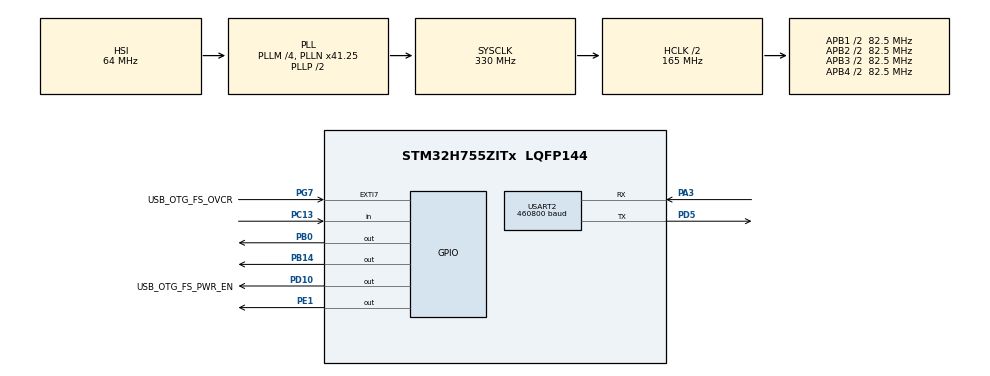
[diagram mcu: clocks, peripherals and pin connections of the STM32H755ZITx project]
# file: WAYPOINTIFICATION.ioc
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CortexM4.IPs=FATFS_M4\:I,FREERTOS_M4\:I,IWDG2\:I,RCC,WWDG2\:I,DMA,BDMA,MDMA,NVIC2\:I,ETH,USART3,DEBUG,PDM2PCM_M4\:I,PWR,RESMGR_UTILITY,SYS_M4\:I,USB_DEVICE_M4\:I,USB_HOST_M4\:I,CORTEX_M4\:I,GPIO,OPENAMP_M4\:I,VREFBUF,NUCLEO-H755ZI-Q
CortexM7.IPs=FATFS_M7\:I,FREERTOS_M7\:I,IWDG1\:I,RCC\:I,WWDG1\:I,DMA\:I,BDMA\:I,MDMA\:I,NVIC1\:I,ETH\:I,USART3\:I,USB_OTG_FS\:I,SYS\:I,CORTEX_M7\:I,DEBUG\:I,PDM2PCM_M7\:I,PWR\:I,RESMGR_UTILITY\:I,USB_DEVICE_M7\:I,USB_HOST_M7\:I,GPIO\:I,OPENAMP_M7\:I,VREFBUF\:I,NUCLEO-H755ZI-Q\:I,MEMORYMAP\:I,USART2\:I
Dma.Request0=USART2_RX
Dma.USART2_RX.0.Direction=DMA_PERIPH_TO_MEMORY
Dma.USART2_RX.0.EventEnable=DISABLE
Dma.USART2_RX.0.FIFOMode=DMA_FIFOMODE_DISABLE
Dma.USART2_RX.0.Instance=DMA1_Stream0
Dma.USART2_RX.0.MemDataAlignment=DMA_MDATAALIGN_BYTE
Dma.USART2_RX.0.MemInc=DMA_MINC_ENABLE
Dma.USART2_RX.0.Mode=DMA_CIRCULAR
Dma.USART2_RX.0.PeriphDataAlignment=DMA_PDATAALIGN_BYTE
Dma.USART2_RX.0.PeriphInc=DMA_PINC_DISABLE
Dma.USART2_RX.0.Polarity=HAL_DMAMUX_REQ_GEN_RISING
Dma.USART2_RX.0.Priority=DMA_PRIORITY_LOW
Dma.USART2_RX.0.RequestNumber=1
Dma.USART2_RX.0.SignalID=NONE
Dma.USART2_RX.0.SyncEnable=DISABLE
Dma.USART2_RX.0.SyncPolarity=HAL_DMAMUX_SYNC_NO_EVENT
Dma.USART2_RX.0.SyncRequestNumber=1
Dma.USART2_RX.0.SyncSignalID=NONE
FREERTOS_M4.Tasks01=defaultTask,24,128,StartDefaultTask,Default,NULL,Dynamic,NULL,NULL
FREERTOS_M7.Tasks01=defaultTask,24,128,StartDefaultTask,Default,NULL,Dynamic,NULL,NULL
Mcu.Family=STM32H7
Mcu.Name=STM32H755ZITx
Mcu.Package=LQFP144
NUCLEO-H755ZI-Q.BUTTON=1
NUCLEO-H755ZI-Q.LD1=true
NUCLEO-H755ZI-Q.LD2=true
NUCLEO-H755ZI-Q.LD3=true
NUCLEO-H755ZI-Q.VCP=true
NVIC1.DMA1_Stream0_IRQn=true\:5\:0\:false\:false\:true\:true\:false\:true\:true
NVIC1.EXTI15_10_IRQn=true\:5\:0\:false\:false\:true\:true\:false\:true\:true
NVIC1.PriorityGroup=NVIC_PRIORITYGROUP_4
NVIC1.USART2_IRQn=true\:5\:0\:false\:false\:true\:true\:true\:true\:true
NVIC2.PriorityGroup=NVIC_PRIORITYGROUP_4
PA1.PinAttribute=CortexM7
PA1.Signal=ETH_REF_CLK
PA11.PinAttribute=CortexM7
PA11.Signal=USB_OTG_FS_DM
PA12.PinAttribute=CortexM7
PA12.Signal=USB_OTG_FS_DP
PA2.PinAttribute=CortexM7
PA2.Signal=ETH_MDIO
PA3.Mode=Asynchronous
PA3.PinAttribute=CortexM7
PA3.Signal=USART2_RX
PA7.PinAttribute=CortexM7
PA7.Signal=ETH_CRS_DV
PA8.PinAttribute=CortexM7
PA8.Signal=USB_OTG_FS_SOF
PA9.PinAttribute=CortexM7
PA9.Signal=USB_OTG_FS_VBUS
PB0.Signal=GPIO_Output
PB13.PinAttribute=CortexM7
PB13.Signal=ETH_TXD1
PB14.Signal=GPIO_Output
PC1.PinAttribute=CortexM7
PC1.Signal=ETH_MDC
PC13.Signal=GPIO_Input
PC14-OSC32_IN\ (OSC32_IN).PinAttribute=Free
PC14-OSC32_IN\ (OSC32_IN).Signal=RCC_OSC32_IN
PC15-OSC32_OUT\ (OSC32_OUT).PinAttribute=Free
PC15-OSC32_OUT\ (OSC32_OUT).Signal=RCC_OSC32_OUT
PC4.PinAttribute=CortexM7
PC4.Signal=ETH_RXD0
PC5.PinAttribute=CortexM7
PC5.Signal=ETH_RXD1
PD10.GPIO_Label=USB_OTG_FS_PWR_EN
PD10.PinAttribute=Free
PD10.Signal=GPIO_Output
PD5.Mode=Asynchronous
PD5.PinAttribute=CortexM7
PD5.Signal=USART2_TX
PD8.Signal=USART3_TX
PD9.Signal=USART3_RX
PE1.Signal=GPIO_Output
PG11.PinAttribute=CortexM7
PG11.Signal=ETH_TX_EN
PG13.PinAttribute=CortexM7
PG13.Signal=ETH_TXD0
PG7.GPIO_Label=USB_OTG_FS_OVCR
PG7.PinAttribute=Free
PG7.Signal=GPXTI7
PH0-OSC_IN\ (PH0).PinAttribute=Free
PH0-OSC_IN\ (PH0).Signal=RCC_OSC_IN
PH1-OSC_OUT\ (PH1).PinAttribute=Free
PH1-OSC_OUT\ (PH1).Signal=RCC_OSC_OUT
ProjectManager.HeapSize=M4-0x200,M7-0x200
ProjectManager.StackSize=M4-0x400,M7-0x400
ProjectManager.TargetToolchain=STM32CubeIDE
RCC.ADCFreq_Value=129000000
RCC.APB1Freq_Value=82500000
RCC.APB2Freq_Value=82500000
RCC.APB3Freq_Value=82500000
RCC.APB4Freq_Value=82500000
RCC.CortexFreq_Value=330000000
RCC.D1PPRE=RCC_APB3_DIV2
RCC.D2PPRE1=RCC_APB1_DIV2
RCC.D2PPRE2=RCC_APB2_DIV2
RCC.D3PPRE=RCC_APB4_DIV2
RCC.DIVM1=4
RCC.DIVN1=41
RCC.DIVQ1=5
RCC.HCLKFreq_Value=165000000
RCC.HPRE=RCC_HCLK_DIV2
RCC.PLL2FRACN=0
RCC.PLL3FRACN=0
RCC.PLLFRACN=2048
RCC.SYSCLKFreq_VALUE=330000000
RCC.SYSCLKSource=RCC_SYSCLKSOURCE_PLLCLK
RCC.SupplySource=PWR_DIRECT_SMPS_SUPPLY
RCC.USBFreq_Value=132000000
USART2.BaudRate=460800
USART2.VirtualMode-Asynchronous=VM_ASYNC
VP_FREERTOS_M4_VS_CMSIS_V2.Mode=CMSIS_V2
VP_FREERTOS_M7_VS_CMSIS_V2.Mode=CMSIS_V2
VP_MEMORYMAP_VS_MEMORYMAP.Mode=CurAppReg
VP_NUCLEO-H755ZI-Q_VS_BSP_COMMON.Mode=COMMON
VP_SYS_M4_VS_Systick.Mode=SysTick
board=NUCLEO-H755ZI-Q

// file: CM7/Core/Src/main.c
/* USER CODE BEGIN Header */
/**
  ******************************************************************************
  * @file           : main.c
  * @brief          : Main program body
  ******************************************************************************
  * @attention
  *
  * Copyright (c) 2025 STMicroelectronics.
  * All rights reserved.
  *
  * This software is licensed under terms that can be found in the LICENSE file
  * in the root directory of this software component.
  * If no LICENSE file comes with this software, it is provided AS-IS.
  *
  ******************************************************************************
  */
/* USER CODE END Header */
#include "main.h"
#include "cmsis_os.h"

/* USER CODE BEGIN Includes */
#include <stdlib.h>
#include "stdio.h"
#include "string.h"
#include "FreeRTOS.h"
#include "task.h"
#include <stdbool.h>
#include "shared_mem.h"
#include <math.h>
/* USER CODE END Includes */

/* USER CODE BEGIN PTD */
typedef struct {
    double angle_deg;   // 0–360°
    double dist_m;      // meters
    double x;           // meters
    double y;           // meters
} LidarPoint;
#define POINTS_PER_REV    360
#define BYTES_PER_POINT   5      // RPLIDAR default measurement packet size
#define SCAN_BUF_SIZE     (POINTS_PER_REV * BYTES_PER_POINT)
__attribute__((section(".dtcmram"))) static uint8_t  scan_buf[SCAN_BUF_SIZE];
LidarPoint  points[POINTS_PER_REV];
/* USER CODE END PTD */

/* USER CODE BEGIN PD */
/* DUAL_CORE_BOOT_SYNC_SEQUENCE: Define for dual core boot synchronization    */
/*                             demonstration code based on hardware semaphore */
/* This define is present in both CM7/CM4 projects                            */
/* To comment when developping/debugging on a single core                     */
#define DUAL_CORE_BOOT_SYNC_SEQUENCE

#if defined(DUAL_CORE_BOOT_SYNC_SEQUENCE)
#ifndef HSEM_ID_0
#define HSEM_ID_0 (0U) /* HW semaphore 0*/
#endif
#endif /* DUAL_CORE_BOOT_SYNC_SEQUENCE */

static volatile bool capturing = false;        // true between start/stop
#define PRINT_PERIOD_MS    100                  // print interval

/* USER CODE END PD */

COM_InitTypeDef BspCOMInit;

UART_HandleTypeDef huart2;
DMA_HandleTypeDef hdma_usart2_rx;

/* Definitions for defaultTask */
osThreadId_t defaultTaskHandle;
const osThreadAttr_t defaultTask_attributes = {
  .name = "defaultTask",
  .stack_size = 1028 * 4,
  .priority = (osPriority_t) osPriorityNormal,
};

void SystemClock_Config(void);
static void MX_GPIO_Init(void);
static void MX_DMA_Init(void);
static void MX_USART2_UART_Init(void);
void StartDefaultTask(void *argument);

/* USER CODE BEGIN 0 */
#define BYTES_PER_POINT 5
#define Q_MIN           0     // toss anything below this quality
#define MAX_DIST_MM     8000  // sensor max reliable range

// Additional state
#define MAX_POINTS_PER_SCAN 400 // generous; typical is 360 but allow for overrun
LidarPoint cur_scan[MAX_POINTS_PER_SCAN];
uint16_t cur_scan_idx = 0;
volatile bool scan_ready = false;

#define MAX_POINTS_PER_SCAN 400
LidarPoint scan_buffer[MAX_POINTS_PER_SCAN];
uint16_t scan_buffer_idx = 0;
LidarPoint last_scan[MAX_POINTS_PER_SCAN];      // stores most recent complete scan
uint16_t last_scan_count = 0;
// Comparator for qsort
int cmp_angle(const void *a, const void *b) {
    const LidarPoint *pa = a, *pb = b;
    if (pa->angle_deg < pb->angle_deg) return -1;
    if (pa->angle_deg > pb->angle_deg) return 1;
    return 0;
}
void parse_chunk(uint8_t *buf, size_t len)
{
    size_t i = 0;
    while (i + BYTES_PER_POINT <= len)
    {
        uint8_t byte0 = buf[i];
        uint8_t quality = byte0 >> 2;
        uint16_t raw_ang  = ((uint16_t)buf[i+2] << 8) | buf[i+1];
        uint16_t raw_dist = ((uint16_t)buf[i+4] << 8) | buf[i+3];

        // Extra validity checks to avoid false positives
        double angle = (raw_ang >> 1) / 64.0;
        double dist  = raw_dist / 1000.0;

        // Valid packet: quality reasonable, angle in [0,360], dist in sensor range
        bool valid = (quality <= 63) && (angle >= 0 && angle <= 360) && (dist >= 0 && dist <= 16);
        if (!valid) {
            i += 1; // Slide window by 1 until you hit a valid candidate
            continue;
        }

        bool sync = byte0 & 0x1;
        if (quality < Q_MIN || raw_dist == 0 || raw_dist > MAX_DIST_MM) {
            i += BYTES_PER_POINT;
            continue;
        }

        if (sync && scan_buffer_idx > 0 && (angle < 10.0 || angle > 350.0)) {
            memcpy(last_scan, scan_buffer, scan_buffer_idx * sizeof(LidarPoint));
            last_scan_count = scan_buffer_idx;
            scan_ready = true;
            scan_buffer_idx = 0;
        }

        if (scan_buffer_idx < MAX_POINTS_PER_SCAN) {
            scan_buffer[scan_buffer_idx].angle_deg = angle;
            scan_buffer[scan_buffer_idx].dist_m = dist;
            scan_buffer[scan_buffer_idx].x = dist * cos(angle * M_PI/180.0);
            scan_buffer[scan_buffer_idx].y = dist * sin(angle * M_PI/180.0);
            scan_buffer_idx++;
        }
        i += BYTES_PER_POINT; // Only advance by 5 if you accepted this as a packet
    }
}

/** Print all 360 decoded points over UART */
void print_last_scan(void)
{
    // Sort by angle
    qsort(last_scan, last_scan_count, sizeof(LidarPoint), cmp_angle);

    for (int i = 0; i < last_scan_count; ++i) {
        printf("%d %.2f %.2f\n",
               i,
               last_scan[i].x,
               last_scan[i].y);
    }
}

/* USER CODE END 0 */

int main(void)
{

/* USER CODE BEGIN Boot_Mode_Sequence_0 */
#if defined(DUAL_CORE_BOOT_SYNC_SEQUENCE)
  int32_t timeout;
#endif /* DUAL_CORE_BOOT_SYNC_SEQUENCE */
/* USER CODE END Boot_Mode_Sequence_0 */

/* USER CODE BEGIN Boot_Mode_Sequence_1 */
#if defined(DUAL_CORE_BOOT_SYNC_SEQUENCE)
  /* Wait until CPU2 boots and enters in stop mode or timeout*/
  timeout = 0xFFFF;
  while((__HAL_RCC_GET_FLAG(RCC_FLAG_D2CKRDY) != RESET) && (timeout-- > 0));
  if ( timeout < 0 )
  {
  Error_Handler();
  }
#endif /* DUAL_CORE_BOOT_SYNC_SEQUENCE */
/* USER CODE END Boot_Mode_Sequence_1 */
  /* MCU Configuration--------------------------------------------------------*/

  /* Reset of all peripherals, Initializes the Flash interface and the Systick. */
  HAL_Init();

  /* Configure the system clock */
  SystemClock_Config();
/* USER CODE BEGIN Boot_Mode_Sequence_2 */
#if defined(DUAL_CORE_BOOT_SYNC_SEQUENCE)
/* When system initialization is finished, Cortex-M7 will release Cortex-M4 by means of
HSEM notification */
/*HW semaphore Clock enable*/
__HAL_RCC_HSEM_CLK_ENABLE();
/*Take HSEM */
HAL_HSEM_FastTake(HSEM_ID_0);
/*Release HSEM in order to notify the CPU2(CM4)*/
HAL_HSEM_Release(HSEM_ID_0,0);
/* wait until CPU2 wakes up from stop mode */
timeout = 0xFFFF;
while((__HAL_RCC_GET_FLAG(RCC_FLAG_D2CKRDY) == RESET) && (timeout-- > 0));
if ( timeout < 0 )
{
Error_Handler();
}
#endif /* DUAL_CORE_BOOT_SYNC_SEQUENCE */
/* USER CODE END Boot_Mode_Sequence_2 */

  /* Initialize all configured peripherals */
  MX_GPIO_Init();
  MX_DMA_Init();
  MX_USART2_UART_Init();
  /* USER CODE BEGIN 2 */
  // start continuous DMA into scan_buf
  HAL_UART_Receive_DMA(&huart2, scan_buf, SCAN_BUF_SIZE);
  // enable half‑ and full‑transfer interrupts
  __HAL_DMA_ENABLE_IT(&hdma_usart2_rx, DMA_IT_HT);
  __HAL_DMA_ENABLE_IT(&hdma_usart2_rx, DMA_IT_TC);
  /* USER CODE END 2 */

  /* Init scheduler */
  osKernelInitialize();

  /* Create the thread(s) */
  /* creation of defaultTask */
  defaultTaskHandle = osThreadNew(StartDefaultTask, NULL, &defaultTask_attributes);

  /* Initialize leds */
  BSP_LED_Init(LED_GREEN);
  BSP_LED_Init(LED_YELLOW);
  BSP_LED_Init(LED_RED);

  /* Initialize USER push-button, will be used to trigger an interrupt each time it's pressed.*/
  BSP_PB_Init(BUTTON_USER, BUTTON_MODE_EXTI);

  /* Initialize COM1 port (115200, 8 bits (7-bit data + 1 stop bit), no parity */
  BspCOMInit.BaudRate   = 460800;
  BspCOMInit.WordLength = COM_WORDLENGTH_8B;
  BspCOMInit.StopBits   = COM_STOPBITS_1;
  BspCOMInit.Parity     = COM_PARITY_NONE;
  BspCOMInit.HwFlowCtl  = COM_HWCONTROL_NONE;
  if (BSP_COM_Init(COM1, &BspCOMInit) != BSP_ERROR_NONE)
  {
    Error_Handler();
  }

  /* Start scheduler */
  osKernelStart();

  /* We should never get here as control is now taken by the scheduler */

  /* Infinite loop */
  while (1)
  {

  }
}

void SystemClock_Config(void)
{
  RCC_OscInitTypeDef RCC_OscInitStruct = {0};
  RCC_ClkInitTypeDef RCC_ClkInitStruct = {0};

  /** Supply configuration update enable
  */
  HAL_PWREx_ConfigSupply(PWR_DIRECT_SMPS_SUPPLY);

  /** Configure the main internal regulator output voltage
  */
  __HAL_PWR_VOLTAGESCALING_CONFIG(PWR_REGULATOR_VOLTAGE_SCALE1);

  while(!__HAL_PWR_GET_FLAG(PWR_FLAG_VOSRDY)) {}

  /** Initializes the RCC Oscillators according to the specified parameters
  * in the RCC_OscInitTypeDef structure.
  */
  RCC_OscInitStruct.OscillatorType = RCC_OSCILLATORTYPE_HSI;
  RCC_OscInitStruct.HSIState = RCC_HSI_DIV1;
  RCC_OscInitStruct.HSICalibrationValue = RCC_HSICALIBRATION_DEFAULT;
  RCC_OscInitStruct.PLL.PLLState = RCC_PLL_ON;
  RCC_OscInitStruct.PLL.PLLSource = RCC_PLLSOURCE_HSI;
  RCC_OscInitStruct.PLL.PLLM = 4;
  RCC_OscInitStruct.PLL.PLLN = 41;
  RCC_OscInitStruct.PLL.PLLP = 2;
  RCC_OscInitStruct.PLL.PLLQ = 5;
  RCC_OscInitStruct.PLL.PLLR = 2;
  RCC_OscInitStruct.PLL.PLLRGE = RCC_PLL1VCIRANGE_3;
  RCC_OscInitStruct.PLL.PLLVCOSEL = RCC_PLL1VCOWIDE;
  RCC_OscInitStruct.PLL.PLLFRACN = 2048;
  if (HAL_RCC_OscConfig(&RCC_OscInitStruct) != HAL_OK)
  {
    Error_Handler();
  }

  /** Initializes the CPU, AHB and APB buses clocks
  */
  RCC_ClkInitStruct.ClockType = RCC_CLOCKTYPE_HCLK|RCC_CLOCKTYPE_SYSCLK
                              |RCC_CLOCKTYPE_PCLK1|RCC_CLOCKTYPE_PCLK2
                              |RCC_CLOCKTYPE_D3PCLK1|RCC_CLOCKTYPE_D1PCLK1;
  RCC_ClkInitStruct.SYSCLKSource = RCC_SYSCLKSOURCE_PLLCLK;
  RCC_ClkInitStruct.SYSCLKDivider = RCC_SYSCLK_DIV1;
  RCC_ClkInitStruct.AHBCLKDivider = RCC_HCLK_DIV2;
  RCC_ClkInitStruct.APB3CLKDivider = RCC_APB3_DIV2;
  RCC_ClkInitStruct.APB1CLKDivider = RCC_APB1_DIV2;
  RCC_ClkInitStruct.APB2CLKDivider = RCC_APB2_DIV2;
  RCC_ClkInitStruct.APB4CLKDivider = RCC_APB4_DIV2;

  if (HAL_RCC_ClockConfig(&RCC_ClkInitStruct, FLASH_LATENCY_2) != HAL_OK)
  {
    Error_Handler();
  }
}

static void MX_USART2_UART_Init(void)
{

  huart2.Instance = USART2;
  huart2.Init.BaudRate = 460800;
  huart2.Init.WordLength = UART_WORDLENGTH_8B;
  huart2.Init.StopBits = UART_STOPBITS_1;
  huart2.Init.Parity = UART_PARITY_NONE;
  huart2.Init.Mode = UART_MODE_TX_RX;
  huart2.Init.HwFlowCtl = UART_HWCONTROL_NONE;
  huart2.Init.OverSampling = UART_OVERSAMPLING_16;
  huart2.Init.OneBitSampling = UART_ONE_BIT_SAMPLE_DISABLE;
  huart2.Init.ClockPrescaler = UART_PRESCALER_DIV1;
  huart2.AdvancedInit.AdvFeatureInit = UART_ADVFEATURE_NO_INIT;
  if (HAL_UART_Init(&huart2) != HAL_OK)
  {
    Error_Handler();
  }
  if (HAL_UARTEx_SetTxFifoThreshold(&huart2, UART_TXFIFO_THRESHOLD_1_8) != HAL_OK)
  {
    Error_Handler();
  }
  if (HAL_UARTEx_SetRxFifoThreshold(&huart2, UART_RXFIFO_THRESHOLD_1_8) != HAL_OK)
  {
    Error_Handler();
  }
  if (HAL_UARTEx_DisableFifoMode(&huart2) != HAL_OK)
  {
    Error_Handler();
  }

}

static void MX_DMA_Init(void)
{

  /* DMA controller clock enable */
  __HAL_RCC_DMA1_CLK_ENABLE();

  /* DMA interrupt init */
  /* DMA1_Stream0_IRQn interrupt configuration */
  HAL_NVIC_SetPriority(DMA1_Stream0_IRQn, 5, 0);
  HAL_NVIC_EnableIRQ(DMA1_Stream0_IRQn);

}

static void MX_GPIO_Init(void)
{
  GPIO_InitTypeDef GPIO_InitStruct = {0};

  /* GPIO Ports Clock Enable */
  __HAL_RCC_GPIOC_CLK_ENABLE();
  __HAL_RCC_GPIOA_CLK_ENABLE();
  __HAL_RCC_GPIOB_CLK_ENABLE();
  __HAL_RCC_GPIOD_CLK_ENABLE();
  __HAL_RCC_GPIOG_CLK_ENABLE();

  /*Configure GPIO pins : PC1 PC4 PC5 */
  GPIO_InitStruct.Pin = GPIO_PIN_1|GPIO_PIN_4|GPIO_PIN_5;
  GPIO_InitStruct.Mode = GPIO_MODE_AF_PP;
  GPIO_InitStruct.Pull = GPIO_NOPULL;
  GPIO_InitStruct.Speed = GPIO_SPEED_FREQ_LOW;
  GPIO_InitStruct.Alternate = GPIO_AF11_ETH;
  HAL_GPIO_Init(GPIOC, &GPIO_InitStruct);

  /*Configure GPIO pins : PA1 PA2 PA7 */
  GPIO_InitStruct.Pin = GPIO_PIN_1|GPIO_PIN_2|GPIO_PIN_7;
  GPIO_InitStruct.Mode = GPIO_MODE_AF_PP;
  GPIO_InitStruct.Pull = GPIO_NOPULL;
  GPIO_InitStruct.Speed = GPIO_SPEED_FREQ_LOW;
  GPIO_InitStruct.Alternate = GPIO_AF11_ETH;
  HAL_GPIO_Init(GPIOA, &GPIO_InitStruct);

  /*Configure GPIO pin : PB13 */
  GPIO_InitStruct.Pin = GPIO_PIN_13;
  GPIO_InitStruct.Mode = GPIO_MODE_AF_PP;
  GPIO_InitStruct.Pull = GPIO_NOPULL;
  GPIO_InitStruct.Speed = GPIO_SPEED_FREQ_LOW;
  GPIO_InitStruct.Alternate = GPIO_AF11_ETH;
  HAL_GPIO_Init(GPIOB, &GPIO_InitStruct);

  /*Configure GPIO pins : PA8 PA11 PA12 */
  GPIO_InitStruct.Pin = GPIO_PIN_8|GPIO_PIN_11|GPIO_PIN_12;
  GPIO_InitStruct.Mode = GPIO_MODE_AF_PP;
  GPIO_InitStruct.Pull = GPIO_NOPULL;
  GPIO_InitStruct.Speed = GPIO_SPEED_FREQ_LOW;
  GPIO_InitStruct.Alternate = GPIO_AF10_OTG1_FS;
  HAL_GPIO_Init(GPIOA, &GPIO_InitStruct);

  /*Configure GPIO pins : PG11 PG13 */
  GPIO_InitStruct.Pin = GPIO_PIN_11|GPIO_PIN_13;
  GPIO_InitStruct.Mode = GPIO_MODE_AF_PP;
  GPIO_InitStruct.Pull = GPIO_NOPULL;
  GPIO_InitStruct.Speed = GPIO_SPEED_FREQ_LOW;
  GPIO_InitStruct.Alternate = GPIO_AF11_ETH;
  HAL_GPIO_Init(GPIOG, &GPIO_InitStruct);

}

/* USER CODE BEGIN 4 */
int _write(int file, char *ptr, int len) {
    HAL_UART_Transmit(&hcom_uart[COM1], (uint8_t*)ptr, len, HAL_MAX_DELAY);
    return len;
}
int startstop = 0;
const uint8_t start_cmd[] = {0xA5, 0x20};  // legacy scan start
const uint8_t motor_speed_cmd[] = {
    0xA5,       // start flag
    0xA8,       // MOTOR_SPEED_CTRL
    0x02,       // payload length
	0x58, 0x02, // RPM = 300
    0x87        // checksum = 0xA8 ^ 0x02 ^ 0x2C ^ 0x01
};

const uint8_t stop_cmd[]  = {0xA5, 0x25};  // stop

void BSP_PB_Callback(Button_TypeDef Button)
{
    if (Button == BUTTON_USER)
    {
    	if (startstop == 0)
    	{
    		BSP_LED_Toggle(LED_RED);
    	    // Send start scan
            HAL_UART_Transmit(&huart2, (uint8_t*)start_cmd, sizeof(start_cmd), HAL_MAX_DELAY);
            uint8_t hdr[7];
            HAL_UART_Receive(&huart2, hdr, sizeof(hdr), HAL_MAX_DELAY);
            capturing = true;
    	    startstop = 1;
    	}
    	else if (startstop == 1)
    	{
    		BSP_LED_Toggle(LED_RED);
    		//HAL_UART_Transmit(&huart2, (uint8_t*)motor_speed_cmd, sizeof(motor_speed_cmd), HAL_MAX_DELAY);
			// Send stop scan
			HAL_UART_Transmit(&huart2, (uint8_t*)stop_cmd, sizeof(stop_cmd), HAL_MAX_DELAY);
			capturing = false;
    	    startstop = 0;
    	}
    }
}
void HAL_UART_RxHalfCpltCallback(UART_HandleTypeDef *huart)
{
    if (huart == &huart2 && capturing) {
        parse_chunk(scan_buf, SCAN_BUF_SIZE/2);
    }
}

/**
 *  Called by HAL when DMA has filled the second half (full transfer)
 */
void HAL_UART_RxCpltCallback(UART_HandleTypeDef *huart)
{
    if (huart == &huart2 && capturing) {
        parse_chunk(scan_buf + SCAN_BUF_SIZE/2, SCAN_BUF_SIZE/2);
    }
}
/* USER CODE END 4 */

void StartDefaultTask(void *argument)
{
  /* USER CODE BEGIN 5 */
	/*
	SHARED_MEM->flag = 0;
	SCB_CleanDCache_by_Addr((uint32_t*)SHARED_MEM, sizeof(*SHARED_MEM));
	__DSB();
	*/
  /* Infinite loop */
  for(;;)
  {
	  /*
	SCB_InvalidateDCache_by_Addr((uint32_t*)SHARED_MEM, sizeof(*SHARED_MEM));
	if (SHARED_MEM->flag)
	{
	  BSP_LED_Toggle(LED_RED);

	  SCB_InvalidateDCache_by_Addr((uint32_t*)SHARED_MEM, sizeof(*SHARED_MEM));
	  for (int i = 0; i < 16; ++i)
		printf("Got: %f\n", SHARED_MEM->buffer[i]);
	  osDelay(5500);
	  SHARED_MEM->flag = 0;
	  SCB_CleanDCache_by_Addr((uint32_t*)SHARED_MEM, sizeof(*SHARED_MEM));
	  __DSB();
	}
	*/
      if (capturing && scan_ready && last_scan_count > 200)
      {
    	print_last_scan();
  		scan_ready = false;
  		BSP_LED_Toggle(LED_GREEN);
      }
      osDelay(1);
  }
  /* USER CODE END 5 */
}

void Error_Handler(void)
{
  __disable_irq();
  while (1)
  {
  }
}
